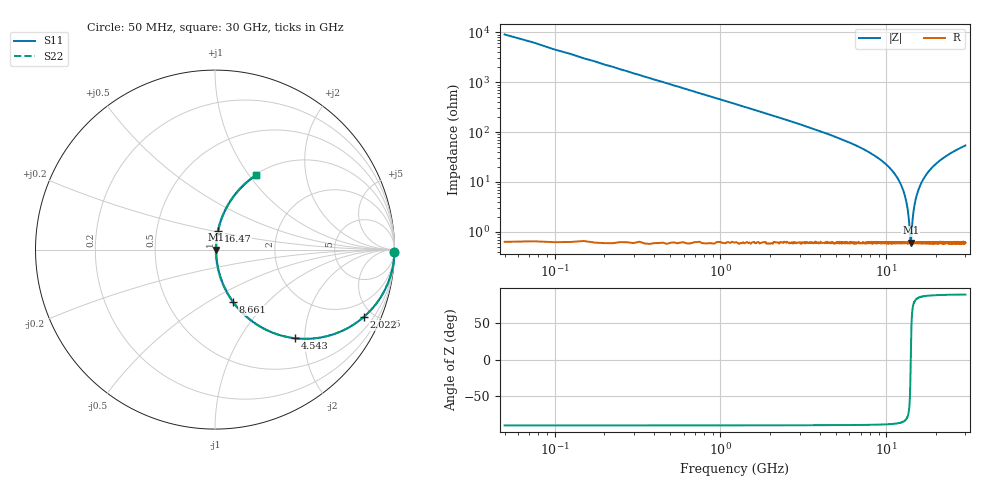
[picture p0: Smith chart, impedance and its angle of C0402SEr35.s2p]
!	AVX Thin Film Operation 	Date: April 2014
!	Description: Accu-P® Series, Thin Film  SMD RF Capacitor
!	Part Number: 04021JR35ZBSTR
# MHZ S MA R 50
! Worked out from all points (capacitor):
!   1201 points, 50 MHz to 30 GHz, reference 50 ohm
!   read as one part in series: C = 350 fF near 199.8 MHz
!   lowest |Z| = 606 mohm at 14.05 GHz (marker M1)
!   series resonance near 14.05 GHz, so ESL is about 370 pH
!   S11 on the Smith chart (normalised r, x): 50 MHz: open; 2.022 GHz: 1.01, -4.41; 4.543 GHz: 1.01, -1.79; 8.661 GHz: 1.01, -0.65; 16.47 GHz: 1.01, +0.21; 30 GHz: 1.01, +1.08
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50  1 -0.6  0.011 89.4  0.011 89.4  1 -0.6
299.583  0.998 -3.8  0.066 86.2  0.066 86.2  0.998 -3.8
624.042  0.991 -7.8  0.136 82.1  0.136 82.1  0.991 -7.8
1173.125  0.967 -14.6  0.251 75.4  0.251 75.4  0.967 -14.6
2021.708  0.91 -24.4  0.413 65.5  0.413 65.5  0.91 -24.4
4542.5  0.665 -47.9  0.742 41.7  0.742 41.7  0.665 -47.9
5041.667  0.616 -51.6  0.783 38.0  0.783 38.0  0.616 -51.6
8660.625  0.308 -71.0  0.946 17.9  0.946 17.9  0.308 -71.0
10058.29  0.214 -76.1  0.971 12.3  0.971 12.3  0.214 -76.1
11680.58  0.119 -80.3  0.987 6.8  0.987 6.8  0.119 -80.3
12778.75  0.061 -80.9  0.992 3.5  0.992 3.5  0.061 -80.9
13452.62  0.028 -76.2  0.994 1.6  0.994 1.6  0.028 -76.2
13677.25  0.018 -69.6  0.994 1.0  0.994 1.0  0.018 -69.6
13951.79  0.007445 -35.6  0.994 0.2  0.994 0.2  0.007445 -35.6
14051.62  0.006038 2.1  0.994 -0.0  0.994 -0.0  0.006038 2.1
14151.46  0.0077 38.1  0.994 -0.3  0.994 -0.3  0.0077 38.1
14575.75  0.025 74.4  0.994 -1.4  0.994 -1.4  0.025 74.4
15025  0.044 79.6  0.993 -2.5  0.993 -2.5  0.044 79.6
16472.58  0.103 80.8  0.989 -5.9  0.989 -5.9  0.103 80.8
20016.67  0.227 75.4  0.968 -13.1  0.968 -13.1  0.227 75.4
25033.29  0.366 67.7  0.925 -21.4  0.925 -21.4  0.366 67.7
30000  0.473 61.1  0.876 -28.2  0.876 -28.2  0.473 61.1
